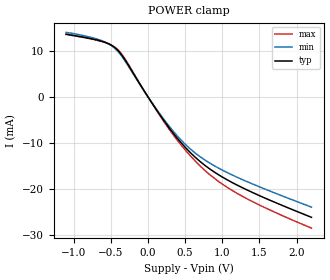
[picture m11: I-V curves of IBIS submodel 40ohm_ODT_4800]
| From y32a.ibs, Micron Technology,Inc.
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| SUBMODEL 40ohm_ODT_4800
[Submodel]   40ohm_ODT_4800
Submodel_type  Dynamic_clamp
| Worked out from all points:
|   POWER clamp passes 1 mA (typ) near -0.04 V on its own axis
[POWER Clamp]
|   Voltage   I(typ)   I(min)   I(max)
-1.1V     13.56mA    13.94mA    13.49mA
-637.1mV  12.09mA    12.24mA    12.04mA
-476.7mV  11.02mA    10.9mA     11.08mA
-394.2mV  9.856mA    9.636mA    10.05mA
-316.2mV  8.209mA    7.964mA    8.418mA
0V        2.589uA    2.63uA     3.703uA
265.8mV   -6.29mA    -5.963mA   -6.574mA
481.3mV   -10.57mA   -9.96mA    -11.12mA
705.8mV   -14.08mA   -13.03mA   -15.04mA
957.9mV   -16.97mA   -15.51mA   -18.44mA
1.205V    -19.17mA   -17.47mA   -20.98mA
2.2V      -26.11mA   -23.9mA    -28.45mA
